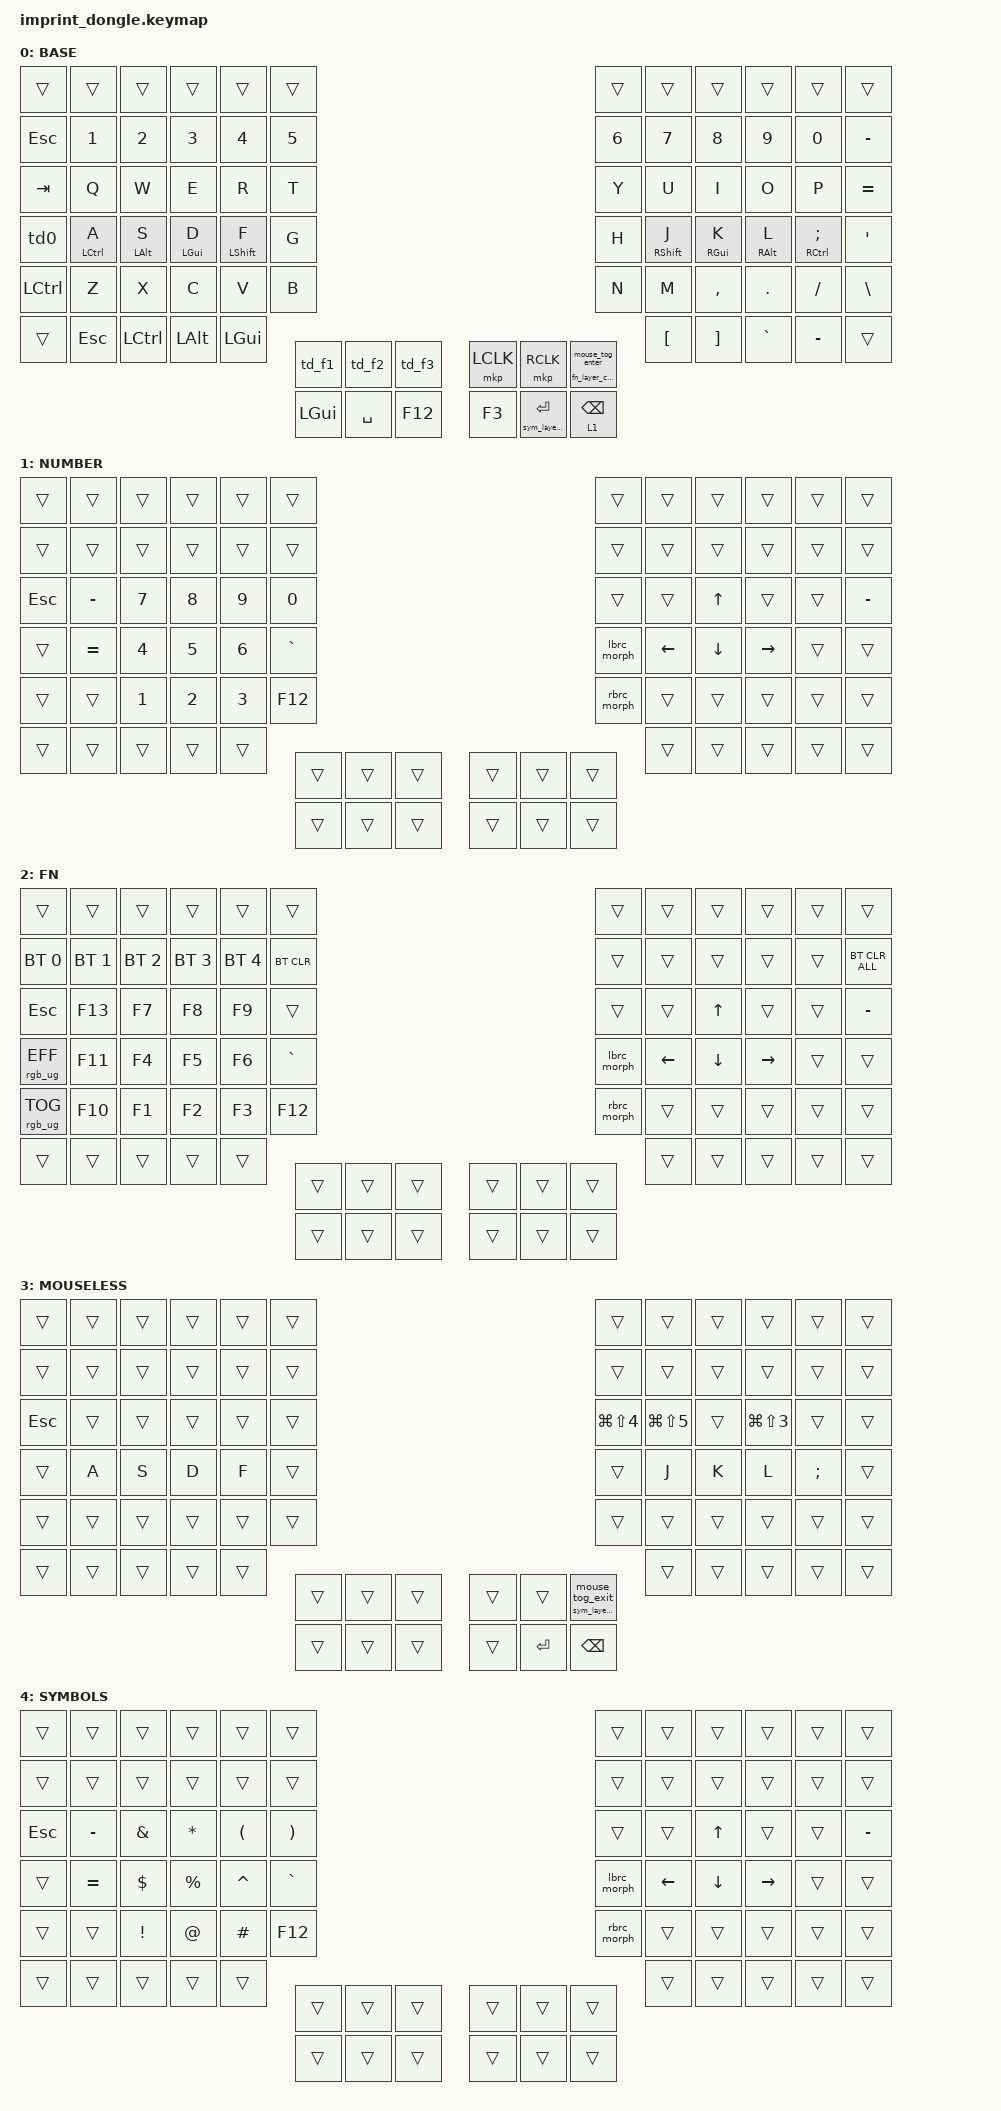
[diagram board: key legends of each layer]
#include <input/processors.dtsi>
#include <input/processors/accel_curve.dtsi>
#include <physical_layouts.dtsi>
#include <dt-bindings/zmk/input_transform.h>
#include <behaviors.dtsi>
#include <dt-bindings/zmk/bt.h>
#include <dt-bindings/zmk/keys.h>
#include <dt-bindings/zmk/pointing.h>
#include <dt-bindings/zmk/rgb.h>

/ {
    chosen {
        /delete-property/ zmk,matrix_transform;
        zmk,physical-layout = &physical_layout_imprint_function_row_full_bottom_row;
    };

    physical_layout_imprint_function_row_full_bottom_row: physical_layout_imprint {
        compatible = "zmk,physical-layout";
        display-name = "Imprint Function Row (5-Key Bottom Row)";
        transform = <&imprint_function_row_full_bottom_row>;

        keys  //                     w   h    x    y     rot    rx    ry
            = <&key_physical_attrs 100 100    0    0       0     0     0>
            , <&key_physical_attrs 100 100  100    0       0     0     0>
            , <&key_physical_attrs 100 100  200    0       0     0     0>
            , <&key_physical_attrs 100 100  300    0       0     0     0>
            , <&key_physical_attrs 100 100  400    0       0     0     0>
            , <&key_physical_attrs 100 100  500    0       0     0     0>
            , <&key_physical_attrs 100 100 1150    0       0     0     0>
            , <&key_physical_attrs 100 100 1250    0       0     0     0>
            , <&key_physical_attrs 100 100 1350    0       0     0     0>
            , <&key_physical_attrs 100 100 1450    0       0     0     0>
            , <&key_physical_attrs 100 100 1550    0       0     0     0>
            , <&key_physical_attrs 100 100 1650    0       0     0     0>
            , <&key_physical_attrs 100 100    0  100       0     0     0>
            , <&key_physical_attrs 100 100  100  100       0     0     0>
            , <&key_physical_attrs 100 100  200  100       0     0     0>
            , <&key_physical_attrs 100 100  300  100       0     0     0>
            , <&key_physical_attrs 100 100  400  100       0     0     0>
            , <&key_physical_attrs 100 100  500  100       0     0     0>
            , <&key_physical_attrs 100 100 1150  100       0     0     0>
            , <&key_physical_attrs 100 100 1250  100       0     0     0>
            , <&key_physical_attrs 100 100 1350  100       0     0     0>
            , <&key_physical_attrs 100 100 1450  100       0     0     0>
            , <&key_physical_attrs 100 100 1550  100       0     0     0>
            , <&key_physical_attrs 100 100 1650  100       0     0     0>
            , <&key_physical_attrs 100 100    0  200       0     0     0>
            , <&key_physical_attrs 100 100  100  200       0     0     0>
            , <&key_physical_attrs 100 100  200  200       0     0     0>
            , <&key_physical_attrs 100 100  300  200       0     0     0>
            , <&key_physical_attrs 100 100  400  200       0     0     0>
            , <&key_physical_attrs 100 100  500  200       0     0     0>
            , <&key_physical_attrs 100 100 1150  200       0     0     0>
            , <&key_physical_attrs 100 100 1250  200       0     0     0>
            , <&key_physical_attrs 100 100 1350  200       0     0     0>
            , <&key_physical_attrs 100 100 1450  200       0     0     0>
            , <&key_physical_attrs 100 100 1550  200       0     0     0>
            , <&key_physical_attrs 100 100 1650  200       0     0     0>
            , <&key_physical_attrs 100 100    0  300       0     0     0>
            , <&key_physical_attrs 100 100  100  300       0     0     0>
            , <&key_physical_attrs 100 100  200  300       0     0     0>
            , <&key_physical_attrs 100 100  300  300       0     0     0>
            , <&key_physical_attrs 100 100  400  300       0     0     0>
            , <&key_physical_attrs 100 100  500  300       0     0     0>
            , <&key_physical_attrs 100 100 1150  300       0     0     0>
            , <&key_physical_attrs 100 100 1250  300       0     0     0>
            , <&key_physical_attrs 100 100 1350  300       0     0     0>
            , <&key_physical_attrs 100 100 1450  300       0     0     0>
            , <&key_physical_attrs 100 100 1550  300       0     0     0>
            , <&key_physical_attrs 100 100 1650  300       0     0     0>
            , <&key_physical_attrs 100 100    0  400       0     0     0>
            , <&key_physical_attrs 100 100  100  400       0     0     0>
            , <&key_physical_attrs 100 100  200  400       0     0     0>
            , <&key_physical_attrs 100 100  300  400       0     0     0>
            , <&key_physical_attrs 100 100  400  400       0     0     0>
            , <&key_physical_attrs 100 100  500  400       0     0     0>
            , <&key_physical_attrs 100 100 1150  400       0     0     0>
            , <&key_physical_attrs 100 100 1250  400       0     0     0>
            , <&key_physical_attrs 100 100 1350  400       0     0     0>
            , <&key_physical_attrs 100 100 1450  400       0     0     0>
            , <&key_physical_attrs 100 100 1550  400       0     0     0>
            , <&key_physical_attrs 100 100 1650  400       0     0     0>
            , <&key_physical_attrs 100 100    0  500       0     0     0>
            , <&key_physical_attrs 100 100  100  500       0     0     0>
            , <&key_physical_attrs 100 100  200  500       0     0     0>
            , <&key_physical_attrs 100 100  300  500       0     0     0>
            , <&key_physical_attrs 100 100  400  500       0     0     0>
            , <&key_physical_attrs 100 100 1250  500       0     0     0>
            , <&key_physical_attrs 100 100 1350  500       0     0     0>
            , <&key_physical_attrs 100 100 1450  500       0     0     0>
            , <&key_physical_attrs 100 100 1550  500       0     0     0>
            , <&key_physical_attrs 100 100 1650  500       0     0     0>
            , <&key_physical_attrs 100 100  550  550       0     0     0>
            , <&key_physical_attrs 100 100  650  550       0     0     0>
            , <&key_physical_attrs 100 100  750  550       0     0     0>
            , <&key_physical_attrs 100 100  900  550       0     0     0>
            , <&key_physical_attrs 100 100 1000  550       0     0     0>
            , <&key_physical_attrs 100 100 1100  550       0     0     0>
            , <&key_physical_attrs 100 100  550  650       0     0     0>
            , <&key_physical_attrs 100 100  650  650       0     0     0>
            , <&key_physical_attrs 100 100  750  650       0     0     0>
            , <&key_physical_attrs 100 100  900  650       0     0     0>
            , <&key_physical_attrs 100 100 1000  650       0     0     0>
            , <&key_physical_attrs 100 100 1100  650       0     0     0>
            ;
    };

    behaviors {
        td0: td0 {
            compatible = "zmk,behavior-tap-dance";
            display-name = "Shift/Caps Lock Tap Dance";
            #binding-cells = <0>;
            bindings = <&kp LEFT_SHIFT>, <&kp CAPS>;
        };

        td_f1: td_f1 {
            compatible = "zmk,behavior-tap-dance";
            display-name = "Double Tap F1";
            #binding-cells = <0>;
            bindings = <&none>, <&kp F1>;
        };

        td_f2: td_f2 {
            compatible = "zmk,behavior-tap-dance";
            display-name = "Double Tap F2";
            #binding-cells = <0>;
            bindings = <&none>, <&kp F2>;
        };

        td_f3: td_f3 {
            compatible = "zmk,behavior-tap-dance";
            display-name = "Double Tap F3";
            #binding-cells = <0>;
            bindings = <&none>, <&kp F3>;
        };

        num_lt: num_lt {
            compatible = "zmk,behavior-hold-tap";
            display-name = "Backspace/NUMBER Layer";
            #binding-cells = <2>;
            flavor = "balanced";
            tapping-term-ms = <200>;
            bindings = <&mo>, <&kp>;
        };

        lbrc_morph: lbrc_morph {
            compatible = "zmk,behavior-mod-morph";
            #binding-cells = <0>;
            bindings = <&kp LBRC>, <&kp LBKT>;
            mods = <(MOD_LSFT|MOD_RSFT)>;
        };

        rbrc_morph: rbrc_morph {
            compatible = "zmk,behavior-mod-morph";
            #binding-cells = <0>;
            bindings = <&kp RBRC>, <&kp RBKT>;
            mods = <(MOD_LSFT|MOD_RSFT)>;
        };

        hml: home_row_mod_left {
            compatible = "zmk,behavior-hold-tap";
            #binding-cells = <2>;
            flavor = "balanced";
            tapping-term-ms = <280>;
            quick-tap-ms = <175>;
            require-prior-idle-ms = <150>;
            bindings = <&kp>, <&kp>;
            hold-trigger-key-positions = <30 31 32 33 34 35 42 43 44 45 46 47 54 55 56 57 58 59 79 80 81>;
            hold-trigger-on-release;
        };

        hmr: home_row_mod_right {
            compatible = "zmk,behavior-hold-tap";
            #binding-cells = <2>;
            flavor = "balanced";
            tapping-term-ms = <280>;
            quick-tap-ms = <175>;
            require-prior-idle-ms = <150>;
            bindings = <&kp>, <&kp>;
            hold-trigger-key-positions = <24 25 26 27 28 29 36 37 38 39 40 41 48 49 50 51 52 53 76 77 78>;
            hold-trigger-on-release;
        };

        fn_lt_enter: fn_lt_enter {
            compatible = "zmk,behavior-hold-tap";
            #binding-cells = <2>;
            flavor = "balanced";
            tapping-term-ms = <200>;
            bindings = <&sym_layer_color>, <&kp>;
        };

        mouse_lt_enter: mouse_lt_enter {
            compatible = "zmk,behavior-hold-tap";
            #binding-cells = <2>;
            flavor = "balanced";
            tapping-term-ms = <200>;
            bindings = <&fn_layer_color>, <&mouse_tog_enter>;
        };

        mouse_lt_exit: mouse_lt_exit {
            compatible = "zmk,behavior-hold-tap";
            #binding-cells = <2>;
            flavor = "balanced";
            tapping-term-ms = <200>;
            bindings = <&sym_layer_color>, <&mouse_tog_exit>;
        };
    };

    combos {
        compatible = "zmk,combos";
    };

    macros {
        compatible = "zmk,macros";

        num_tog_enter: num_tog_enter {
            compatible = "zmk,behavior-macro";
            #binding-cells = <0>;
            wait-ms = <0>;
            tap-ms = <0>;
            bindings = <&to 1>;
        };

        num_tog_exit: num_tog_exit {
            compatible = "zmk,behavior-macro";
            #binding-cells = <0>;
            wait-ms = <0>;
            tap-ms = <0>;
            bindings = <&to 0>;
        };

        fn_layer_color: fn_layer_color {
            compatible = "zmk,behavior-macro";
            #binding-cells = <0>;
            wait-ms = <0>;
            tap-ms = <0>;
            bindings
                = <&macro_press &mo 2>
                , <&macro_pause_for_release>
                , <&macro_release &mo 2>;
        };

        mouse_tog_enter: mouse_tog_enter {
            compatible = "zmk,behavior-macro";
            #binding-cells = <0>;
            wait-ms = <0>;
            tap-ms = <0>;
            bindings
                = <&tog 3>
                , <&kp RALT>;
        };

        mouse_tog_exit: mouse_tog_exit {
            compatible = "zmk,behavior-macro";
            #binding-cells = <0>;
            wait-ms = <0>;
            tap-ms = <0>;
            bindings
                = <&tog 3>
                , <&kp RALT>;
        };

        sym_layer_color: sym_layer_color {
            compatible = "zmk,behavior-macro";
            #binding-cells = <0>;
            wait-ms = <0>;
            tap-ms = <0>;
            bindings
                = <&macro_press &mo 4>
                , <&macro_pause_for_release>
                , <&macro_release &mo 4>;
        };
    };

    keymap {
        compatible = "zmk,keymap";

        default_layer {
            display-name = "BASE";
            bindings = <
&trans    &trans          &trans         &trans         &trans          &trans              &trans  &trans          &trans         &trans         &trans           &trans
&kp ESC  &kp N1          &kp N2         &kp N3         &kp N4          &kp N5              &kp N6  &kp N7          &kp N8         &kp N9         &kp N0           &kp MINUS
&kp TAB  &kp Q           &kp W          &kp E          &kp R           &kp T               &kp Y   &kp U           &kp I          &kp O          &kp P            &kp EQUAL
&td0     &hml LCTRL A    &hml LALT S    &hml LGUI D    &hml LSHFT F    &kp G               &kp H   &hmr RSHFT J    &hmr RGUI K    &hmr RALT L    &hmr RCTRL SEMI  &kp SQT
&kp LCTRL &kp Z          &kp X          &kp C          &kp V           &kp B               &kp N   &kp M           &kp COMMA      &kp DOT        &kp FSLH         &kp BSLH
&trans   &kp ESC         &kp LCTRL      &kp LALT       &kp LGUI                                    &kp LBKT        &kp RBKT       &kp GRAVE      &kp MINUS        &trans
                                                        &td_f1          &td_f2  &td_f3     &mkp LCLK &mkp RCLK      &mouse_lt_enter 0 0
                                                        &kp LGUI        &kp SPACE &kp F12    &kp F3  &fn_lt_enter 0 ENTER  &num_lt 1 BSPC
            >;
        };

        lower_layer {
            display-name = "NUMBER";
            bindings = <
&trans  &trans     &trans  &trans  &trans  &trans              &trans       &trans    &trans    &trans     &trans  &trans
&trans  &trans     &trans  &trans  &trans  &trans              &trans       &trans    &trans    &trans     &trans  &trans
&kp ESC &kp MINUS  &kp N7  &kp N8  &kp N9  &kp N0             &trans       &trans    &kp UP    &trans     &trans  &kp MINUS
&trans  &kp EQUAL  &kp N4  &kp N5  &kp N6  &kp GRAVE          &lbrc_morph  &kp LEFT  &kp DOWN  &kp RIGHT  &trans  &trans
&trans  &trans     &kp N1  &kp N2  &kp N3  &kp F12            &rbrc_morph  &trans    &trans    &trans     &trans  &trans
&trans  &trans     &trans  &trans  &trans                                   &trans    &trans    &trans     &trans  &trans
                                   &trans  &trans  &trans      &trans       &trans    &trans
                                   &trans  &trans  &trans      &trans       &trans    &trans
            >;
        };

        layer_3 {
            display-name = "FN";
            bindings = <
&trans           &trans        &trans        &trans        &trans        &trans              &trans       &trans    &trans    &trans     &trans  &trans
&bt BT_SEL 0     &bt BT_SEL 1  &bt BT_SEL 2  &bt BT_SEL 3  &bt BT_SEL 4  &bt BT_CLR          &trans       &trans    &trans    &trans     &trans  &bt BT_CLR_ALL
&kp ESC          &kp F13       &kp F7        &kp F8        &kp F9        &trans              &trans       &trans    &kp UP    &trans     &trans  &kp MINUS
&rgb_ug RGB_EFF  &kp F11   &kp F4  &kp F5  &kp F6  &kp GRAVE          &lbrc_morph  &kp LEFT  &kp DOWN  &kp RIGHT  &trans  &trans
&rgb_ug RGB_TOG  &kp F10   &kp F1  &kp F2  &kp F3  &kp F12            &rbrc_morph  &trans    &trans    &trans     &trans  &trans
&trans           &trans    &trans  &trans  &trans                                   &trans    &trans    &trans     &trans  &trans
                                           &trans  &trans  &trans      &trans       &trans    &trans
                                           &trans  &trans  &trans      &trans       &trans    &trans
            >;
        };

        mouse_layer {
            display-name = "MOUSELESS";
            bindings = <
&trans  &trans  &trans  &trans  &trans  &trans              &trans          &trans          &trans  &trans          &trans    &trans
&trans  &trans  &trans  &trans  &trans  &trans              &trans          &trans          &trans  &trans          &trans    &trans
&kp ESC &trans  &trans  &trans  &trans  &trans              &kp LG(LS(N4)) &kp LG(LS(N5))  &trans  &kp LG(LS(N3)) &trans    &trans
&trans  &kp A   &kp S   &kp D   &kp F   &trans              &trans          &kp J           &kp K   &kp L           &kp SEMI  &trans
&trans  &trans  &trans  &trans  &trans  &trans              &trans          &trans          &trans  &trans          &trans    &trans
&trans  &trans  &trans  &trans  &trans                                      &trans          &trans  &trans          &trans    &trans
                                &trans  &trans  &trans      &trans          &trans          &mouse_lt_exit 0 0
                                &trans  &trans  &trans      &trans  &kp ENTER   &kp BSPC
            >;
        };

        symbols_layer {
            display-name = "SYMBOLS";
            bindings = <
&trans  &trans     &trans    &trans     &trans     &trans              &trans       &trans    &trans    &trans     &trans  &trans
&trans  &trans     &trans    &trans     &trans     &trans              &trans       &trans    &trans    &trans     &trans  &trans
&kp ESC &kp MINUS  &kp AMPS  &kp ASTRK  &kp LPAR   &kp RPAR           &trans       &trans    &kp UP    &trans     &trans  &kp MINUS
&trans  &kp EQUAL  &kp DLLR  &kp PRCNT  &kp CARET  &kp GRAVE          &lbrc_morph  &kp LEFT  &kp DOWN  &kp RIGHT  &trans  &trans
&trans  &trans     &kp EXCL  &kp AT     &kp HASH   &kp F12            &rbrc_morph  &trans    &trans    &trans     &trans  &trans
&trans  &trans     &trans    &trans     &trans                                      &trans    &trans    &trans     &trans  &trans
                                        &trans     &trans  &trans      &trans       &trans    &trans
                                        &trans     &trans  &trans      &trans       &trans    &trans
            >;
        };
    };
};

&zip_scroll_accel {
    default-curve = "0 0 102 100 10 38 10 100 102 100 5702 406 2271 89 544 355";
};

// right hand trackball configuration

&trackball_peripheral_listener {
    input-processors = <&zip_xy_scaler 33 20>, <&zip_pointer_accel>;
};

// left hand trackball configuration

&trackball_central_listener {
    input-processors =
        // multiply sensitivity by 1, divide by 32 (0.03125x scrolling),
        <&zip_xy_scaler 1 32>,
        // make this trackball output scrolling events by default instead of cursor movement,
        <&zip_xy_to_scroll_mapper>,
        // invert vertical scrolling so that the view moves in the same direction as the top of the trackball.,
        <&zip_scroll_transform INPUT_TRANSFORM_Y_INVERT>,
        // apply acceleration curve (set via shell: curve set scroll <values>),
        <&zip_scroll_accel>;
};
